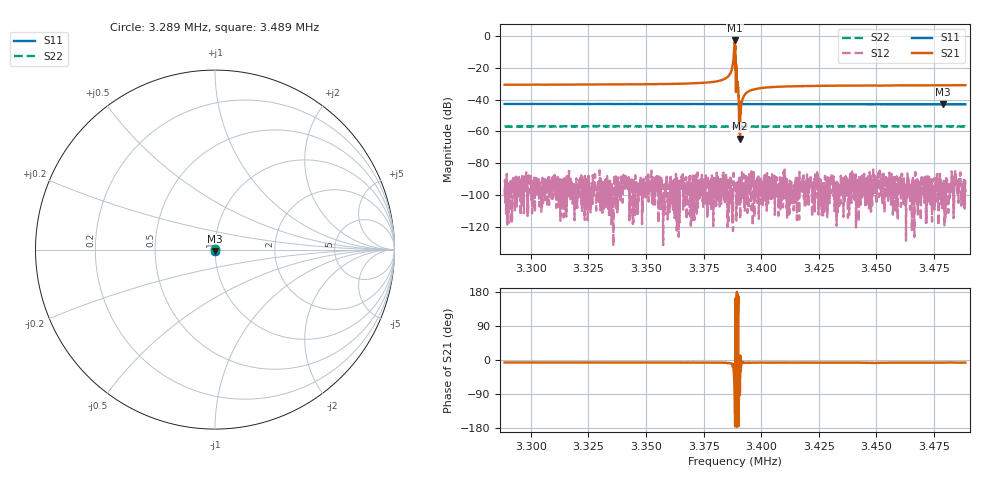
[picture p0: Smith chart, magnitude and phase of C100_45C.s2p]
# Hz S dB R 50.000
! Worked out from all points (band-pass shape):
!   6401 points, 3.289 MHz to 3.489 MHz, reference 50 ohm
!   highest |S21| = -2.82 dB at 3.389 MHz (marker M1); lowest = -64.5 dB at 3.391 MHz (marker M2)
!   |S21| within 3 dB of the highest: 3.38837 MHz to 3.388641 MHz (270.7 Hz wide, 0.00799 % of centre)
!   lowest |S11| = -43.1 dB at 3.479 MHz (marker M3), VSWR 1.01, Z = 50 - j0.702 ohm
!   |S11| at or under -10 dB: start of sweep to end of sweep
!   |S22| runs from -57.7 to -56.2 dB; largest |S21 - S12| = 0.72
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3288594  -42.72 -92.6  -30.65 -6.6  -100.31 -88.2  -56.88 49.0
3321938  -42.78 -92.5  -30.54 -6.7  -93.48 -25.1  -56.82 49.2
3355282  -42.79 -92.4  -30.24 -6.8  -96.97 -40.1  -56.94 48.4
3382532  -42.83 -92.4  -27.90 -6.9  -97.00 34.2  -56.98 49.8
3385938  -42.83 -92.4  -24.93 -8.0  -102.86 -61.3  -56.99 50.3
3386969  -42.84 -92.6  -22.18 -8.6  -92.29 -8.6  -57.06 50.0
3387438  -42.83 -92.6  -19.15 -9.9  -117.13 11.5  -57.03 50.0
3387813  -42.82 -92.6  -16.43 -10.7  -92.01 83.2  -57.00 50.7
3388594  -42.86 -92.4  -2.82 -150.7  -95.01 42.1  -56.23 56.6
3389219  -42.84 -92.5  -19.67 153.4  -104.54 -157.0  -57.01 50.2
3389813  -42.83 -92.5  -32.84 136.5  -96.77 -127.1  -56.94 50.9
3389969  -42.86 -92.6  -32.44 143.2  -99.88 -111.4  -57.05 50.4
3390344  -42.85 -92.6  -50.61 -66.3  -90.18 81.6  -57.00 51.8
3390782  -42.86 -92.7  -64.48 -81.0  -97.36 -76.3  -56.82 50.6
3391282  -42.83 -92.7  -41.54 -13.6  -97.86 -14.0  -57.14 50.7
3391906  -42.82 -92.8  -39.65 -7.8  -95.57 -163.3  -56.91 50.9
3392938  -42.85 -92.6  -36.72 -7.4  -104.69 161.2  -57.02 51.6
3396375  -42.86 -92.6  -33.73 -6.8  -96.66 40.7  -56.81 50.6
3421938  -42.89 -92.7  -31.40 -6.8  -96.47 -6.0  -56.91 51.3
3455282  -42.95 -92.5  -31.11 -7.0  -92.97 -11.9  -56.73 50.6
3478906  -43.06 -92.3  -31.00 -6.9  -97.41 40.1  -56.92 49.1
3488594  -42.99 -92.5  -30.91 -7.0  -98.02 152.1  -57.01 49.1
